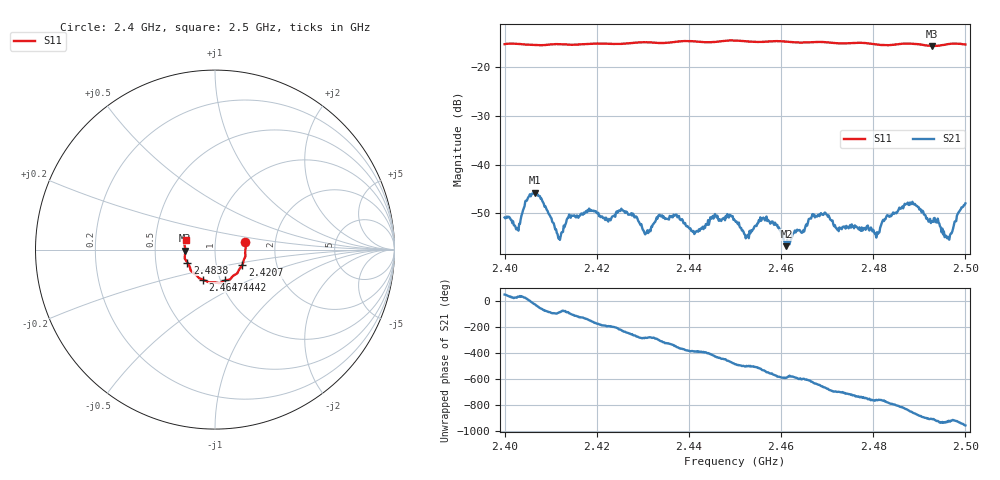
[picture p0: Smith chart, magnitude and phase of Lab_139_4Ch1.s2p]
# Hz S RI R 50
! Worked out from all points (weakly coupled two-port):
!   601 points, 2.4 GHz to 2.5 GHz, reference 50 ohm
!   highest |S21| = -45.77 dB at 2.4065 GHz (marker M1); lowest = -56.8 dB at 2.4612 GHz (marker M2)
!   lowest |S11| = -15.6 dB at 2.4928 GHz (marker M3), VSWR 1.40, Z = 35.8 - j0.392 ohm
!   |S11| at or under -10 dB: start of sweep to end of sweep
!   S12 and S22 are empty: the file has one direction only
!   S11 on the Smith chart (normalised r, x): 2.4 GHz: 1.40, +0.12; 2.4207 GHz: 1.33, -0.24; 2.4442 GHz: 1.05, -0.37; 2.4647 GHz: 0.83, -0.29; 2.4838 GHz: 0.73, -0.11; 2.5 GHz: 0.72, +0.08
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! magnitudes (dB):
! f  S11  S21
! 2.4 GHz  -15.2  -50.9
! 2.4028 GHz  -15.2  -53.0
! 2.4065 GHz  -15.4  -45.8
! 2.4118 GHz  -15.2  -54.9
! 2.4167 GHz  -15.3  -50.0
! 2.4207 GHz  -15.1  -50.5
! 2.4308 GHz  -14.9  -54.1
! 2.4333 GHz  -15.0  -50.5
! 2.4442 GHz  -14.9  -51.4
! 2.45 GHz  -14.5  -51.5
! 2.4525 GHz  -14.7  -54.6
! 2.4567 GHz  -14.7  -51.1
! 2.4612 GHz  -14.7  -56.8
! 2.4647 GHz  -14.9  -53.9
! 2.4667 GHz  -14.8  -50.6
! 2.4808 GHz  -15.3  -53.9
! 2.4833 GHz  -15.5  -50.5
! 2.4838 GHz  -15.4  -50.6
! 2.4885 GHz  -15.1  -47.6
! 2.4928 GHz  -15.6  -51.6
! 2.4965 GHz  -15.2  -55.4
! 2.5 GHz  -15.3  -48.0
